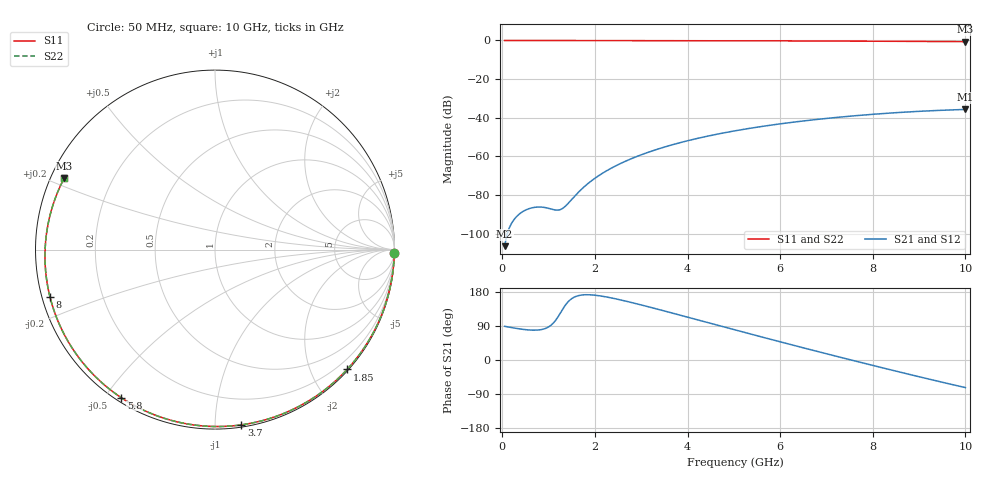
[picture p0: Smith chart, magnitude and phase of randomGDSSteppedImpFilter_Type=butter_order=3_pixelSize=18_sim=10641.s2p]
! freq	dB(S11)	phase(S11)	dB(S12)	phase(S12)
!  dB(S21)	phase(S21)	dB(S22)	phase(S22)
!S-par simulation data
#  GHz  S  DB  R 50
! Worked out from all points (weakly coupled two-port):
!   200 points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, 50 MHz to 10 GHz, reference 50 ohm
!   highest |S21| = -35.71 dB at 10 GHz (marker M1); lowest = -106.5 dB at 50 MHz (marker M2)
!   lowest |S11| = -0.6 dB at 10 GHz (marker M3), VSWR 27.52, Z = 1.91 + j11.2 ohm
!   |S11| at or under -10 dB: nowhere
!   |S22| runs from -0.6 to 0.0 dB; largest |S21 - S12| = 0
!   S11 on the Smith chart (normalised r, x): 50 MHz: open; 1.85 GHz: 0.02, -2.59; 3.7 GHz: 0.01, -1.16; 5.8 GHz: 0.02, -0.55; 8 GHz: 0.02, -0.14; 10 GHz: 0.04, +0.22
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0.05  -0.00 -1.1  -106.46 88.9  -106.46 88.9  -0.00 -1.1
0.45  -0.02 -10.4  -88.46 80.8  -88.46 80.8  -0.02 -10.4
0.8  -0.02 -18.5  -86.20 79.4  -86.20 79.4  -0.02 -18.5
1.55  -0.05 -35.5  -80.91 165.6  -80.91 165.6  -0.05 -35.5
1.6  -0.05 -36.6  -79.63 168.2  -79.63 168.2  -0.05 -36.6
1.75  -0.05 -40.0  -76.12 171.9  -76.12 171.9  -0.05 -40.0
1.85  -0.05 -42.2  -74.06 172.2  -74.06 172.2  -0.05 -42.2
2.15  -0.06 -48.8  -68.93 168.5  -68.93 168.5  -0.06 -48.8
2.5  -0.07 -56.4  -64.29 160.0  -64.29 160.0  -0.07 -56.4
2.9  -0.08 -64.9  -60.09 148.4  -60.09 148.4  -0.08 -64.9
3.4  -0.10 -75.3  -55.90 132.6  -55.90 132.6  -0.10 -75.3
3.7  -0.11 -81.5  -53.79 122.9  -53.79 122.9  -0.11 -81.5
4.35  -0.13 -94.5  -49.95 101.6  -49.95 101.6  -0.13 -94.5
5.05  -0.17 -108.1  -46.66 78.7  -46.66 78.7  -0.17 -108.1
5.8  -0.21 -122.3  -43.82 54.4  -43.82 54.4  -0.21 -122.3
6.7  -0.27 -139.2  -41.12 25.8  -41.12 25.8  -0.27 -139.2
7.35  -0.32 -151.4  -39.53 5.6  -39.53 5.6  -0.32 -151.4
8  -0.39 -163.8  -38.22 -14.3  -38.22 -14.3  -0.39 -163.8
8.35  -0.42 -170.7  -37.62 -24.9  -37.62 -24.9  -0.42 -170.7
9.2  -0.52 172.1  -36.44 -50.1  -36.44 -50.1  -0.52 172.1
9.6  -0.58 163.6  -36.03 -61.6  -36.03 -61.6  -0.58 163.6
10  -0.63 154.8  -35.71 -72.8  -35.71 -72.8  -0.63 154.8
